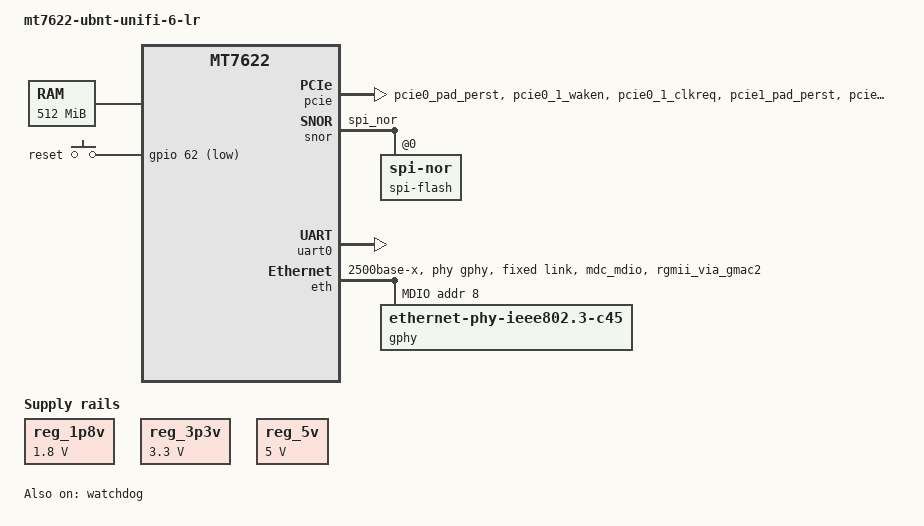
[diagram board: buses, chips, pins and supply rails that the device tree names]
// SPDX-License-Identifier: GPL-2.0
/*
 * Copyright (c) 2019 MediaTek Inc.
 * Author: Sam Shih <sam.shih@mediatek.com>
 */

/dts-v1/;
#include <dt-bindings/input/linux-event-codes.h>
#include "mt7622.dtsi"
#include "mt7622-u-boot.dtsi"

/ {
	#address-cells = <1>;
	#size-cells = <1>;
	model = "mt7622-ubnt-unifi-6-lr";
	compatible = "mediatek,mt7622", "ubnt,unifi-6-lr";

	chosen {
		stdout-path = &uart0;
		tick-timer = &timer0;
	};

	memory@40000000 {
		device_type = "memory";
		reg = <0x40000000 0x20000000>;
	};

	aliases {
		spi0 = &snor;
	};

	gpio-keys {
		compatible = "gpio-keys";

		reset {
			label = "reset";
			gpios = <&gpio 62 GPIO_ACTIVE_LOW>;
			linux,code = <KEY_RESTART>;
		};
	};

	memory@40000000 {
		device_type = "memory";
		reg = <0x40000000 0x20000000>;
	};

	reg_1p8v: regulator-1p8v {
		compatible = "regulator-fixed";
		regulator-name = "fixed-1.8V";
		regulator-min-microvolt = <1800000>;
		regulator-max-microvolt = <1800000>;
		regulator-boot-on;
		regulator-always-on;
	};

	reg_3p3v: regulator-3p3v {
		compatible = "regulator-fixed";
		regulator-name = "fixed-3.3V";
		regulator-min-microvolt = <3300000>;
		regulator-max-microvolt = <3300000>;
		regulator-boot-on;
		regulator-always-on;
	};

	reg_5v: regulator-5v {
		compatible = "regulator-fixed";
		regulator-name = "fixed-5V";
		regulator-min-microvolt = <5000000>;
		regulator-max-microvolt = <5000000>;
		regulator-boot-on;
		regulator-always-on;
	};
};

&pcie {
	pinctrl-names = "default";
	pinctrl-0 = <&pcie0_pins>, <&pcie1_pins>;
	status = "okay";

	pcie@0,0 {
		status = "okay";
	};

	pcie@1,0 {
		status = "okay";
	};
};

&pinctrl {
	eth_pins: eth-pins {
		mux {
			function = "eth";
			groups = "mdc_mdio", "rgmii_via_gmac2";
		};
	};

	pcie0_pins: pcie0-pins {
		mux {
			function = "pcie";
			groups = "pcie0_pad_perst",
				 "pcie0_1_waken",
				 "pcie0_1_clkreq";
		};
	};

	pcie1_pins: pcie1-pins {
		mux {
			function = "pcie";
			groups = "pcie1_pad_perst",
				 "pcie1_0_waken",
				 "pcie1_0_clkreq";
		};
	};

	snfi_pins: snfi-pins {
		mux {
			function = "flash";
			groups = "snfi";
		};
	};

	snor_pins: snor-pins {
		mux {
			function = "flash";
			groups = "spi_nor";
		};
	};

	uart0_pins: uart0 {
		mux {
			function = "uart";
			groups = "uart0_0_tx_rx" ;
		};
	};

	watchdog_pins: watchdog-default {
		mux {
			function = "watchdog";
			groups = "watchdog";
		};
	};
};

&snor {
	pinctrl-names = "default";
	pinctrl-0 = <&snor_pins>;
	status = "okay";

	spi-flash@0 {
		compatible = "jedec,spi-nor";
		reg = <0>;
		spi-tx-bus-width = <1>;
		spi-rx-bus-width = <4>;
		u-boot,dm-pre-reloc;
	};
};

&uart0 {
	mediatek,force-highspeed;
	status = "okay";
};

&watchdog {
	pinctrl-names = "default";
	pinctrl-0 = <&watchdog_pins>;
	status = "okay";
};

&eth {
	status = "okay";
	pinctrl-names = "default";
	pinctrl-0 = <&eth_pins>;

	mediatek,gmac-id = <0>;
	phy-mode = "2500base-x";
	phy-handle = <&gphy>;

	fixed-link {
		speed = <2500>;
		full-duplex;
	};

	mdio-bus {
		#address-cells = <1>;
		#size-cells = <0>;

		gphy: ethernet-phy@8 {
			/* Marvell AQRate AQR112W - no driver */
			compatible = "ethernet-phy-ieee802.3-c45";
			reg = <0x8>;
		};
	};
};
